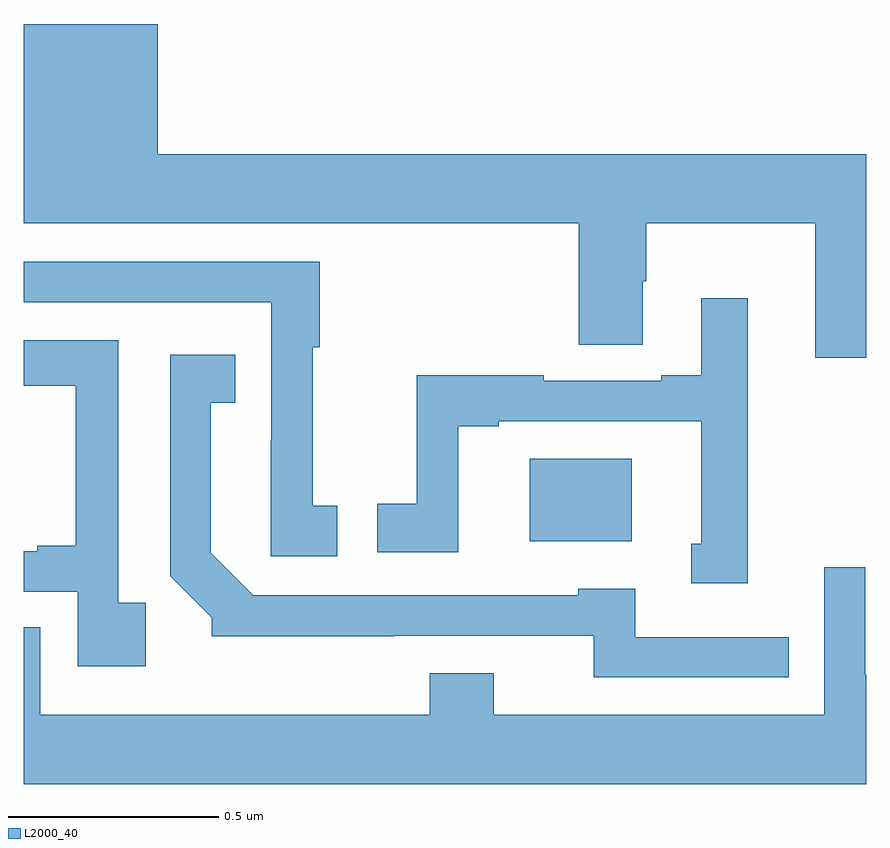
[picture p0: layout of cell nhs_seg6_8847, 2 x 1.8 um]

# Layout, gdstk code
import gdstk
lib = gdstk.Library(unit=1e-6, precision=1e-09)
def R(c, l, rs):  # rectangles x0, y0, x1, y1
    for r in rs: c.add(gdstk.rectangle(r[:2], r[2:], *l))
def P(c, l, *ps):  # polygons
    for p in ps: c.add(gdstk.Polygon(p, *l))
L2000_40 = (2000, 40)

nhs_seg6_8847 = lib.new_cell('nhs_seg6_8847')
R(nhs_seg6_8847, L2000_40, [(227.201,965.228,227.443,965.425)])
P(nhs_seg6_8847, L2000_40, [(228,966.148),(226.318,966.148),(226.318,966.457),(226,966.457),(226,965.984),(227.318,965.984),(227.318,965.695),(227.47,965.695),(227.47,965.846),(227.478,965.846),(227.478,965.984),(227.879,965.984),(227.879,965.664),(228,965.664)],
  [(226.744,965.313),(226.686,965.313),(226.686,965.689),(226.703,965.689),(226.703,965.892),(226,965.892),(226,965.796),(226.587,965.796),(226.587,965.468),(226.586,965.468),(226.586,965.193),(226.744,965.193)],
  [(227.719,965.806),(227.609,965.806),(227.609,965.623),(227.513,965.623),(227.513,965.61),(227.234,965.61),(227.234,965.623),(226.933,965.623),(226.933,965.318),(226.839,965.318),(226.839,965.202),(227.032,965.202),(227.032,965.502),(227.128,965.502),(227.128,965.514),(227.609,965.514),(227.609,965.223),(227.585,965.223),(227.585,965.129),(227.719,965.129)],
  [(226.289,965.083),(226.224,965.083),(226.224,965.706),(226,965.706),(226,965.598),(226.123,965.598),(226.123,965.218),(226.031,965.218),(226.031,965.205),(226,965.205),(226,965.109),(226.128,965.109),(226.128,964.932),(226.289,964.932)],
  [(227.816,965.001),(227.452,965.001),(227.452,965.116),(227.316,965.116),(227.316,965.1),(226.545,965.1),(226.444,965.201),(226.444,965.558),(226.502,965.558),(226.502,965.671),(226.347,965.671),(226.347,965.146),(226.446,965.047),(226.446,965.003),(226.88,965.003),(226.88,965.004),(227.353,965.004),(227.353,964.905),(227.816,964.905)],
  [(228,964.912),(227.998,964.912),(227.998,965.167),(227.901,965.167),(227.901,964.816),(227.116,964.816),(227.116,964.915),(226.964,964.915),(226.964,964.816),(226.039,964.816),(226.039,965.024),(226,965.024),(226,964.652),(228,964.652)])

lib.write_gds('nhs_seg6_8847.gds')
